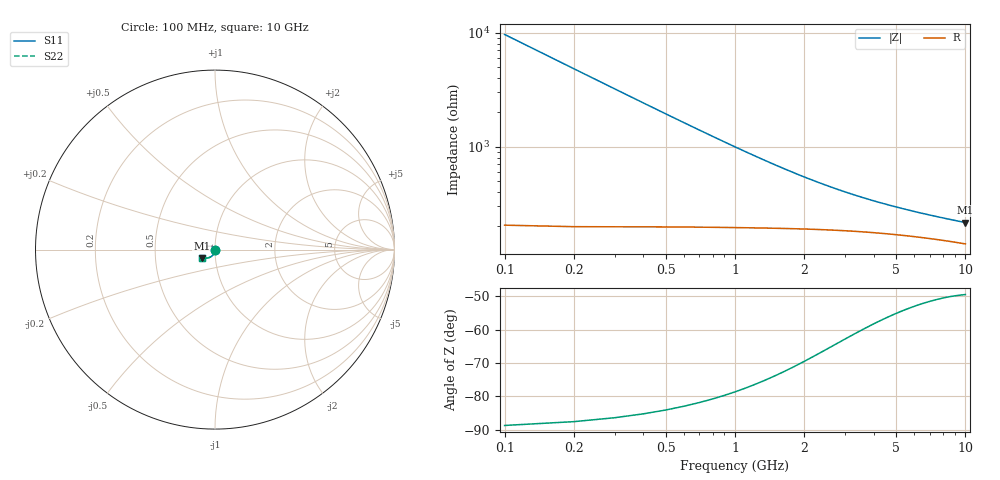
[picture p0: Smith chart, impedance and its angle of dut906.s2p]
! Touchstone file exported from HFSS 2024.1.0
!  File:  C:/UserFiles/LocalFiles/RDL_TSV_Batchsim/temp_TSV1_906_1779944700.aedt
!  Generated:  01:09:19 PM May 28, 2026
!  Design:  TSV1
!  Project:  temp_TSV1_906_1779944700
!  Setup:  Setup1
!  Solution:  Sweep
! Variables:
!  dtsv = 14.11um
!  hbump = 3um
!  htsv = 96.03um
!  lrdl = 252.1521522um
!  p = 40
!  p1 = 40.69um
!  t = 500um
!  trdl = 3um
!  wrdl = 24.89489489um
# GHz S MA R 50.000000
! Terminal data exported
! Port[1] = TSV22_T1
! Port[2] = TSV22_T2
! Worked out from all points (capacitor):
!   100 points, 100 MHz to 10 GHz, reference 50 ohm
!   read as one part in shunt: C = 165 fF near 100 MHz
!   lowest |Z| = 217 ohm at 10 GHz (marker M1)
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0.1  0.002243 -88.9  0.9998 -0.2  0.9998 -0.2  0.002243 -88.9
! Gamma 0 0 0 0
! Port Impedance 50 0 50 0
0.2  0.004488 -91.4  0.9996 -0.3  0.9996 -0.3  0.004488 -91.4
0.3  0.006733 -93.2  0.9993 -0.5  0.9993 -0.5  0.006733 -93.2
0.4  0.008968 -94.8  0.9989 -0.7  0.9989 -0.7  0.008968 -94.8
0.5  0.01119 -96.4  0.9984 -0.8  0.9984 -0.8  0.01119 -96.4
0.6  0.01338 -97.9  0.9978 -1.0  0.9978 -1.0  0.01338 -97.9
0.7  0.01554 -99.4  0.9971 -1.1  0.9971 -1.1  0.01554 -99.4
0.8  0.01766 -100.9  0.9963 -1.3  0.9963 -1.3  0.01766 -100.9
0.9  0.01975 -102.3  0.9955 -1.4  0.9955 -1.4  0.01975 -102.3
1.1  0.02379 -105.0  0.9936 -1.7  0.9936 -1.7  0.02379 -105.0
1.4  0.02949 -108.9  0.9903 -2.1  0.9903 -2.1  0.02949 -108.9
1.6  0.03304 -111.3  0.988 -2.4  0.988 -2.4  0.03304 -111.3
1.8  0.03638 -113.6  0.9855 -2.6  0.9855 -2.6  0.03638 -113.6
2.1  0.041 -116.7  0.9818 -2.9  0.9818 -2.9  0.041 -116.7
2.5  0.04649 -120.5  0.9768 -3.2  0.9768 -3.2  0.04649 -120.5
2.9  0.05129 -123.8  0.9721 -3.5  0.9721 -3.5  0.05129 -123.8
3.4  0.05646 -127.4  0.9665 -3.9  0.9665 -3.9  0.05646 -127.4
4.2  0.06323 -132.1  0.9587 -4.3  0.9587 -4.3  0.06323 -132.1
5.1  0.06923 -136.2  0.9513 -4.7  0.9513 -4.7  0.06923 -136.2
6.7  0.07719 -141.5  0.9412 -5.3  0.9412 -5.3  0.07719 -141.5
8.4  0.08327 -145.4  0.9333 -5.9  0.9333 -5.9  0.08327 -145.4
10  0.08759 -148.1  0.9278 -6.5  0.9278 -6.5  0.08759 -148.1
